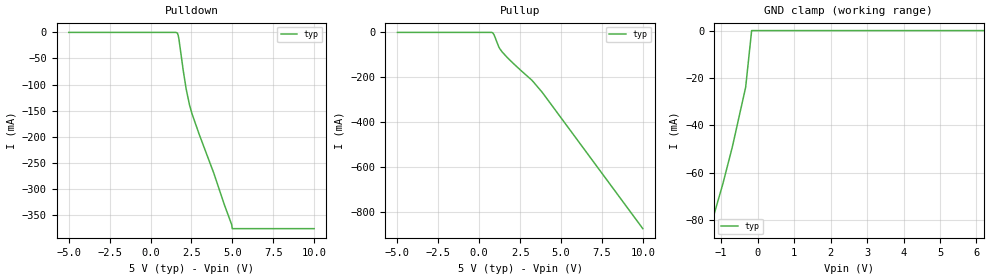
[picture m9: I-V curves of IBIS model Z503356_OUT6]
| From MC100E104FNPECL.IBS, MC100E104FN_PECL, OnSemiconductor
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| (C) COPYRIGHT 1993-2000
| MENTOR GRAPHICS CORPORATION
| ICX STANDARD LIBRARY, ICX PROJECT MODELING,
| ICX CUSTOM MODELING, ICX VENDOR MODEL
| ALL RIGHTS RESERVED.
| THE FOLLOWING ARE TRADEMARKS OR SERVICE MARKS OF
| MENTOR GRAPHICS CORPORATION:ICX (R), ICX STANDARD
| LIBRARY(R), ICX PROJECT MODELING(R), ICX CUSTOM
| MODELING(R), qualityIBIS(TM), MODELVIEWER(TM),
| AND MODELEDITOR(TM)
| ALL COPIES OF SOFTWARE, INCLUDING BUT NOT LIMITED TO
| ANY MODIFICATIONS, ENHANCEMENTS OR DERIVATIVE WORKS,
| MUST CONTAIN ALL MENTOR GRAPHICS CORPORATION'S
| NOTICES AND LEGENDS, INCLUDING THOSE EMBEDDED IN
| SOFTWARE AND THOSE AFFIXED TO SOFTWARE MEDIUM
| AND CONTAINER, AS RECEIVED FROM MENTOR GRAPHICS
| CORPORATION.
| Model Application Version 1.89 2/18/99.
[Model] Z503356_OUT6
Model_type Output_ECL
Vref=3.000V
Rref=50.00ohms
Cref=0.000F
Vmeas=3.677V
C_comp 8.000pF NA NA
| variable typ   min   max
[Voltage Range] 5.000V NA NA
[POWER Clamp Reference] 5.000V NA NA
[Pullup Reference] 5.000V NA NA
[Pulldown Reference] 5.000V NA NA
[GND Clamp Reference] 0.000V NA NA
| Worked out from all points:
|   GND clamp passes 1 mA (typ) near -0.17 V on its own axis
[GND Clamp]
-5V       -280.8mA   NA         NA
-957mV    -64.9mA    NA         NA
-693mV    -49.1mA    NA         NA
-328mV    -23.9mA    NA         NA
-164mV    0A         NA         NA
10V       0A         NA         NA
[Pulldown]
-5V       0A         NA         NA
1.613V    -700uA     NA         NA
1.694V    -6.3mA     NA         NA
1.735V    -13.2mA    NA         NA
1.999V    -73.7mA    NA         NA
2.181V    -109.5mA   NA         NA
2.384V    -139.7mA   NA         NA
2.526V    -155.5mA   NA         NA
3.865V    -270.1mA   NA         NA
4.961V    -369.1mA   NA         NA
4.992V    -376.6mA   NA         NA
10V       -376.6mA   NA         NA
[Pullup]
-5V       0A         NA         NA
827mV     -1.9mA     NA         NA
908mV     -11mA      NA         NA
1.192V    -64.1mA    NA         NA
1.395V    -86.5mA    NA         NA
2.125V    -141mA     NA         NA
3.221V    -212.9mA   NA         NA
3.85V     -266.6mA   NA         NA
10V       -873.3mA   NA         NA
[POWER Clamp]
-5V       0A         NA         NA
10V       0A         NA         NA
[Ramp]
| variable typ min max
dV/dt_r 483.0m/297.6p NA NA
dV/dt_f 483.0m/215.5p NA NA
R_load = 500.0Ohms
